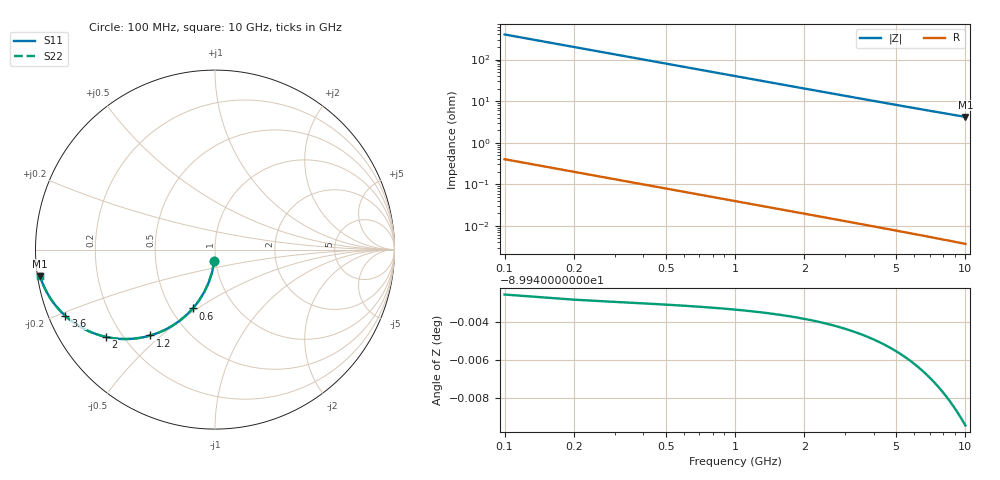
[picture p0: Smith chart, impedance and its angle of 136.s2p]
# Hz S RI R 50.00
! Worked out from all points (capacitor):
!   100 points, 100 MHz to 10 GHz, reference 50 ohm
!   read as one part in shunt: C = 3.98 pF near 100 MHz
!   lowest |Z| = 4.18 ohm at 10 GHz (marker M1)
!   S11 on the Smith chart (normalised r, x): 100 MHz: 0.98, -0.12; 600 MHz: 0.64, -0.48; 1.2 GHz: 0.31, -0.46; 2 GHz: 0.14, -0.34; 3.6 GHz: 0.05, -0.21; 10 GHz: 0.01, -0.08
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1e8  -0.00394 -0.0622  0.996 -0.0623  0.996 -0.0623  -0.00394 -0.0622
2e8  -0.0155 -0.1229  0.9845 -0.1232  0.9845 -0.1232  -0.0155 -0.1229
3e8  -0.0341 -0.1809  0.9658 -0.1813  0.9658 -0.1813  -0.0341 -0.1809
4e8  -0.059 -0.2349  0.941 -0.2355  0.941 -0.2355  -0.059 -0.2349
5e8  -0.0892 -0.2842  0.9108 -0.2849  0.9108 -0.2849  -0.0892 -0.2842
6e8  -0.1235 -0.3281  0.8765 -0.3289  0.8765 -0.3289  -0.1235 -0.3281
7e8  -0.1608 -0.3664  0.8392 -0.3674  0.8392 -0.3674  -0.1608 -0.3664
9e8  -0.2404 -0.4262  0.7596 -0.4275  0.7596 -0.4275  -0.2404 -0.4262
1.2e9  -0.3597 -0.4786  0.6403 -0.4803  0.6403 -0.4803  -0.3597 -0.4786
1.5e9  -0.4671 -0.4973  0.5328 -0.4995  0.5328 -0.4995  -0.4671 -0.4973
1.8e9  -0.5577 -0.4949  0.4423 -0.4974  0.4423 -0.4974  -0.5577 -0.4949
2e9  -0.6087 -0.4861  0.3913 -0.489  0.3913 -0.489  -0.6087 -0.4861
2.3e9  -0.6727 -0.4671  0.3273 -0.4704  0.3273 -0.4704  -0.6727 -0.4671
2.6e9  -0.724 -0.4446  0.2759 -0.4484  0.2759 -0.4484  -0.724 -0.4446
3e9  -0.7772 -0.4134  0.2228 -0.4178  0.2228 -0.4178  -0.7772 -0.4134
3.4e9  -0.8174 -0.3834  0.1826 -0.3883  0.1826 -0.3883  -0.8174 -0.3834
3.6e9  -0.8337 -0.3692  0.1662 -0.3744  0.1662 -0.3744  -0.8337 -0.3692
4.3e9  -0.8772 -0.3245  0.1227 -0.3308  0.1227 -0.3308  -0.8772 -0.3245
5.1e9  -0.9094 -0.2828  0.0905 -0.2902  0.0905 -0.2902  -0.9094 -0.2828
6.7e9  -0.9454 -0.2217  0.0545 -0.2316  0.0545 -0.2316  -0.9454 -0.2217
8.4e9  -0.9646 -0.1778  0.0353 -0.1904  0.0353 -0.1904  -0.9646 -0.1778
1e10  -0.9748 -0.1483  0.025 -0.1634  0.025 -0.1634  -0.9748 -0.1483
